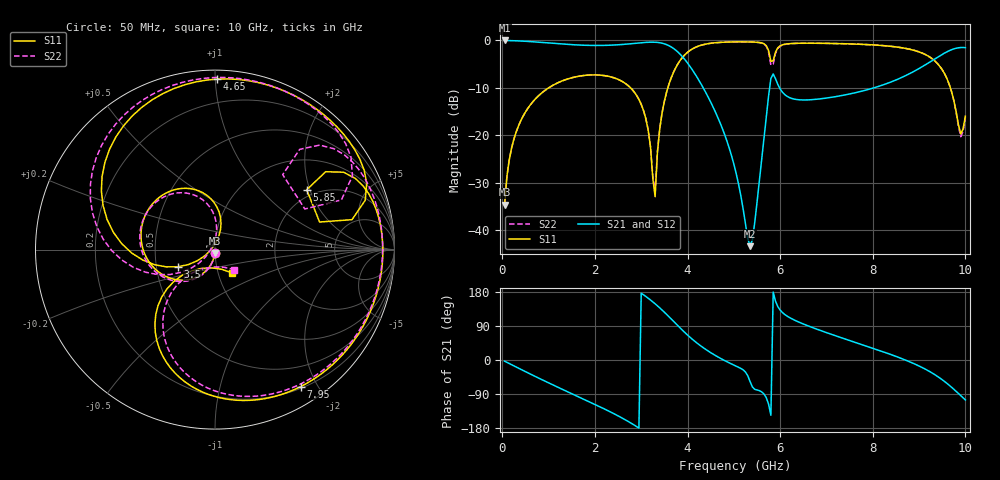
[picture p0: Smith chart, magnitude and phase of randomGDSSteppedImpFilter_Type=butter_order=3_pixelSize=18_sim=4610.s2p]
! freq	dB(S11)	phase(S11)	dB(S12)	phase(S12)
!  dB(S21)	phase(S21)	dB(S22)	phase(S22)
!S-par simulation data
#  GHz  S  DB  R 50
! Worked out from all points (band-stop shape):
!   200 points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, 50 MHz to 10 GHz, reference 50 ohm
!   highest |S21| = 0.00 dB at 50 MHz (marker M1); lowest = -43.4 dB at 5.35 GHz (marker M2)
!   |S21| within 3 dB of the highest: start of sweep to 3.85 GHz; 9.488 GHz to end of sweep
!   lowest |S11| = -34.7 dB at 50 MHz (marker M3), VSWR 1.04, Z = 49.9 - j1.84 ohm
!   |S11| at or under -10 dB: start of sweep to 1.001 GHz; 2.77 GHz to 3.575 GHz (805.4 MHz wide, 25.4 % of centre); 9.675 GHz to end of sweep
!   |S22| runs from -34.7 to -0.3 dB; largest |S21 - S12| = 0
!   S11 on the Smith chart (normalised r, x): 50 MHz: 1.00, -0.04; 3.5 GHz: 0.65, -0.13; 4.65 GHz: 0.05, +1.01; 5.85 GHz: 1.79, +1.90; 7.95 GHz: 0.22, -1.78; 10 GHz: 1.16, -0.31
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0.05  -34.66 -93.1  -0.00 -3.1  -0.00 -3.1  -34.66 -93.0
0.2  -22.72 -103.0  -0.04 -12.4  -0.04 -12.4  -22.72 -102.4
0.5  -15.10 -122.0  -0.18 -30.7  -0.18 -30.7  -15.10 -120.5
1.75  -7.40 163.9  -1.01 -102.9  -1.01 -102.9  -7.40 169.2
2.9  -11.59 91.2  -0.58 -175.6  -0.58 -175.6  -11.59 100.4
3.15  -18.87 74.4  -0.38 163.1  -0.38 163.1  -18.85 85.3
3.3  -32.94 -179.2  -0.38 148.3  -0.38 148.3  -31.80 -174.2
3.4  -18.62 -147.7  -0.48 137.6  -0.48 137.6  -18.55 -139.8
3.5  -12.81 -155.3  -0.72 126.1  -0.72 126.1  -12.79 -146.3
4  -2.50 147.1  -4.76 65.9  -4.76 65.9  -2.50 157.9
4.65  -0.44 89.2  -16.15 8.5  -16.15 8.5  -0.45 101.0
5.05  -0.31 63.1  -28.03 -16.2  -28.03 -16.2  -0.32 75.0
5.35  -0.32 45.1  -43.38 -56.7  -43.38 -56.7  -0.33 56.8
5.7  -1.10 18.2  -16.27 -99.3  -16.27 -99.3  -1.22 28.2
5.85  -4.29 33.1  -7.06 179.3  -7.06 179.3  -4.99 47.9
6.1  -0.80 19.9  -11.42 120.1  -11.42 120.1  -0.84 32.7
6.7  -0.58 -9.3  -12.48 85.5  -12.48 85.5  -0.59 2.0
7.95  -0.91 -58.0  -10.21 33.1  -10.21 33.1  -0.91 -49.2
8.35  -1.20 -73.6  -8.92 16.3  -8.92 16.3  -1.20 -65.5
9.4  -4.92 -125.9  -3.53 -43.4  -3.53 -43.4  -4.91 -119.7
9.9  -19.72 -100.1  -1.50 -94.0  -1.50 -94.0  -20.30 -94.7
10  -15.98 -54.5  -1.52 -105.4  -1.52 -105.4  -16.23 -46.4
